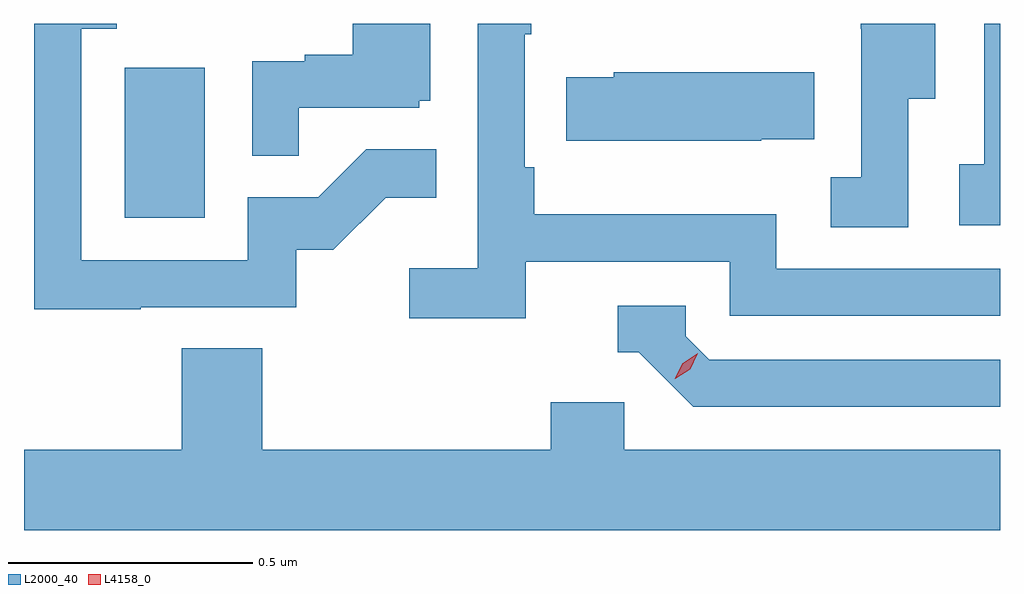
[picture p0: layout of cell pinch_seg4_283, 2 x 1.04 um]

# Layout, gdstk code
import gdstk
lib = gdstk.Library(unit=1e-6, precision=1e-09)
def R(c, l, rs):  # rectangles x0, y0, x1, y1
    for r in rs: c.add(gdstk.rectangle(r[:2], r[2:], *l))
def P(c, l, *ps):  # polygons
    for p in ps: c.add(gdstk.Polygon(p, *l))
L2000_40 = (2000, 40)
L4158_0 = (4158, 0)

pinch_seg4_283 = lib.new_cell('pinch_seg4_283')
R(pinch_seg4_283, L2000_40, [(938.768,824.1,938.932,824.407)])
P(pinch_seg4_283, L2000_40, [(940.562,824.497),(940.53,824.497),(940.53,824.21),(940.479,824.21),(940.479,824.085),(940.562,824.085)],
  [(938.801,823.917),(939.12,823.917),(939.12,824.034),(939.196,824.034),(939.303,824.141),(939.407,824.141),(939.407,824.24),(939.263,824.24),(939.165,824.142),(939.021,824.142),(939.021,824.013),(938.679,824.013),(938.679,824.487),(938.752,824.487),(938.752,824.497),(938.583,824.497),(938.583,823.912),(938.801,823.912)],
  [(939.59,824.01),(940.008,824.01),(940.008,823.899),(940.562,823.899),(940.562,823.995),(940.104,823.995),(940.104,824.107),(939.608,824.107),(939.608,824.203),(939.588,824.203),(939.588,824.476),(939.601,824.476),(939.601,824.497),(939.492,824.497),(939.492,823.996),(939.351,823.996),(939.351,823.894),(939.59,823.894)],
  [(939.125,824.325),(939.372,824.325),(939.372,824.34),(939.394,824.34),(939.394,824.497),(939.236,824.497),(939.236,824.434),(939.137,824.434),(939.137,824.421),(939.03,824.421),(939.03,824.227),(939.125,824.227)],
  [(940.374,824.344),(940.429,824.344),(940.429,824.497),(940.277,824.497),(940.277,824.487),(940.278,824.487),(940.278,824.183),(940.215,824.183),(940.215,824.08),(940.374,824.08)],
  [(940.073,824.261),(940.181,824.261),(940.181,824.398),(939.771,824.398),(939.771,824.388),(939.673,824.388),(939.673,824.258),(940.073,824.258)],
  [(940.562,823.809),(939.966,823.809),(939.918,823.857),(939.918,823.92),(939.779,823.92),(939.779,823.824),(939.822,823.824),(939.933,823.713),(940.562,823.713)],
  [(940.562,823.624),(939.792,823.624),(939.792,823.722),(939.641,823.722),(939.641,823.624),(939.05,823.624),(939.05,823.832),(938.885,823.832),(938.885,823.624),(938.562,823.624),(938.562,823.46),(940.562,823.46)])
P(pinch_seg4_283, L4158_0, [(939.896,823.77),(939.896,823.77),(939.912,823.802),(939.943,823.822),(939.943,823.822),(939.943,823.822),(939.927,823.789),(939.897,823.77)])

lib.write_gds('pinch_seg4_283.gds')
